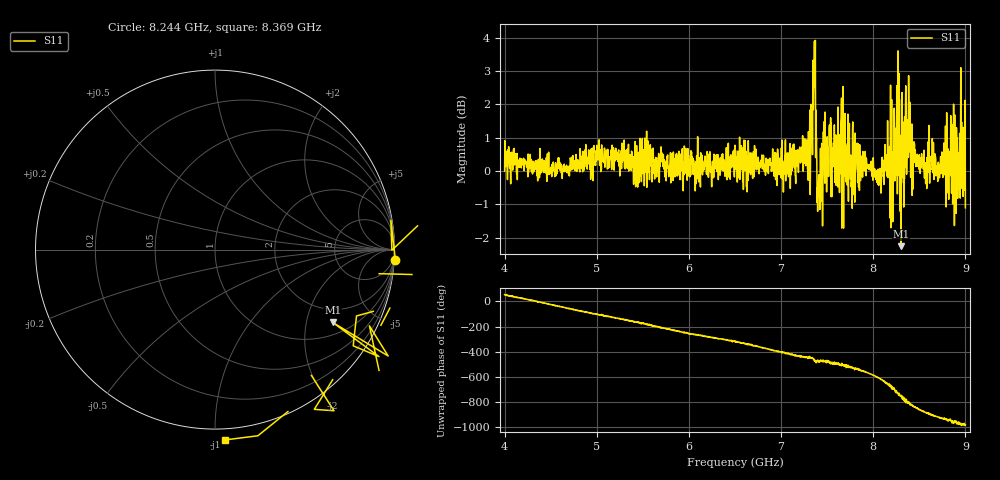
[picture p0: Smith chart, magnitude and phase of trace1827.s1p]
! Created with skrf 1.8.0 (http://scikit-rf.org).
# Hz S RI R 50.0
!freq ReS11 ImS11
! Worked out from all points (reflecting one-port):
!   1601 points, 4 GHz to 9 GHz, reference 50 ohm
!   lowest |S11| = -2.3 dB at 8.3 GHz (marker M1), VSWR 7.76, Z = 71.5 - j143 ohm
!   phase of S11 starts at 53 deg and turns -1033 deg over the sweep
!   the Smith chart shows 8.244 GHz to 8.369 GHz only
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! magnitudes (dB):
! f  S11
! 4 GHz  0.0
! 4.625 GHz  -0.2
! 5.25 GHz  -0.1
! 5.875 GHz  0.3
! 6.5 GHz  0.8
! 7.125 GHz  0.2
! 7.294 GHz  -0.3
! 7.316 GHz  -0.7
! 7.347 GHz  3.3
! 7.369 GHz  3.2
! 7.4 GHz  -0.5
! 7.412 GHz  -0.2
! 7.512 GHz  0.7
! 7.609 GHz  1.0
! 7.669 GHz  1.5
! 7.75 GHz  0.2
! 8.066 GHz  -0.1
! 8.228 GHz  1.9
! 8.253 GHz  1.1
! 8.3 GHz  -2.3
! 8.312 GHz  2.4
! 8.334 GHz  1.5
! 8.375 GHz  0.9
! 8.425 GHz  0.2
! 8.566 GHz  0.0
! 8.906 GHz  0.7
! 8.972 GHz  0.3
! 9 GHz  -1.1
